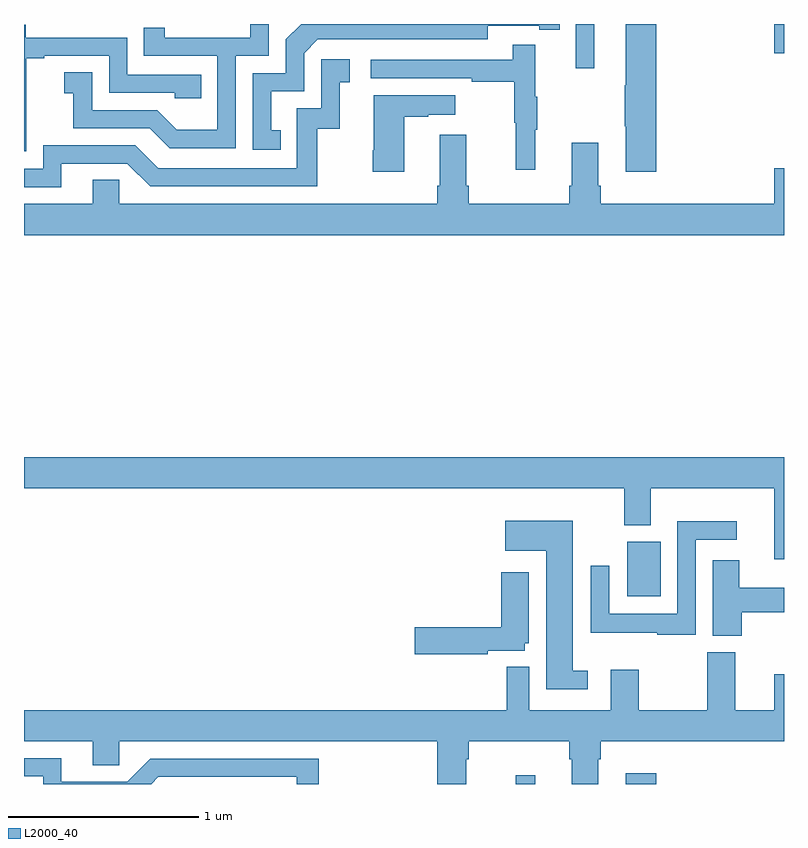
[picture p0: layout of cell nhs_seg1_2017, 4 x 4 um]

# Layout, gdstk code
import gdstk
lib = gdstk.Library(unit=1e-6, precision=1e-09)
def R(c, l, rs):  # rectangles x0, y0, x1, y1
    for r in rs: c.add(gdstk.rectangle(r[:2], r[2:], *l))
def P(c, l, *ps):  # polygons
    for p in ps: c.add(gdstk.Polygon(p, *l))
L2000_40 = (2000, 40)

nhs_seg1_2017 = lib.new_cell('nhs_seg1_2017')
R(nhs_seg1_2017, L2000_40, [(223.588,526.199,223.691,526.246), (224.168,526.199,224.327,526.255), (224.174,527.186,224.35,527.473), (223.905,529.965,224.002,530.199), (224.948,530.046,225,530.199)])
P(nhs_seg1_2017, L2000_40, [(224.327,530.199),(224.168,530.199),(224.168,529.877),(224.161,529.877),(224.161,529.66),(224.168,529.66),(224.168,529.422),(224.327,529.422)],
  [(222.114,530.031),(222.288,530.031),(222.288,530.199),(222.191,530.199),(222.191,530.127),(221.74,530.127),(221.74,530.179),(221.629,530.179),(221.629,530.031),(222.018,530.031),(222.018,529.642),(221.804,529.642),(221.7,529.746),(221.358,529.746),(221.358,529.945),(221.211,529.945),(221.211,529.835),(221.26,529.835),(221.26,529.65),(221.663,529.65),(221.768,529.545),(222.114,529.545)],
  [(222.35,529.641),(222.301,529.641),(222.301,529.845),(222.474,529.845),(222.474,530.046),(222.546,530.118),(223.44,530.118),(223.44,530.19),(223.712,530.19),(223.712,530.17),(223.82,530.17),(223.82,530.199),(222.459,530.199),(222.378,530.118),(222.378,529.941),(222.204,529.941),(222.204,529.536),(222.35,529.536)],
  [(221.013,529.735),(221.012,529.735),(221.012,530.019),(221.107,530.019),(221.107,530.031),(221.448,530.031),(221.448,529.836),(221.793,529.836),(221.793,529.809),(221.933,529.809),(221.933,529.932),(221.544,529.932),(221.544,530.127),(221.01,530.127),(221.01,530.196),(221,530.196),(221,529.529),(221.013,529.529)],
  [(223.691,529.643),(223.702,529.643),(223.702,529.817),(223.691,529.817),(223.691,530.089),(223.573,530.089),(223.573,530.01),(222.825,530.01),(222.825,529.914),(223.357,529.914),(223.357,529.894),(223.581,529.894),(223.581,529.68),(223.588,529.68),(223.588,529.431),(223.691,529.431)],
  [(221.197,529.464),(221.544,529.464),(221.664,529.344),(222.544,529.344),(222.544,529.647),(222.662,529.647),(222.662,529.893),(222.715,529.893),(222.715,530.014),(222.564,530.014),(222.564,529.755),(222.435,529.755),(222.435,529.44),(221.706,529.44),(221.586,529.56),(221.1,529.56),(221.1,529.437),(221,529.437),(221,529.341),(221.197,529.341)],
  [(223,529.711),(223.127,529.711),(223.127,529.721),(223.27,529.721),(223.27,529.825),(222.842,529.825),(222.842,529.534),(222.835,529.534),(222.835,529.422),(223,529.422)],
  [(225,529.441),(224.948,529.441),(224.948,529.252),(224.036,529.252),(224.036,529.348),(224.023,529.348),(224.023,529.573),(223.883,529.573),(223.883,529.348),(223.871,529.348),(223.871,529.252),(223.34,529.252),(223.34,529.348),(223.327,529.348),(223.327,529.615),(223.187,529.615),(223.187,529.348),(223.175,529.348),(223.175,529.252),(221.502,529.252),(221.502,529.379),(221.363,529.379),(221.363,529.252),(221,529.252),(221,529.088),(225,529.088)],
  [(225,527.92),(221,527.92),(221,527.756),(224.159,527.756),(224.159,527.562),(224.299,527.562),(224.299,527.756),(224.948,527.756),(224.948,527.382),(225,527.382)],
  [(223.966,526.796),(223.888,526.796),(223.888,527.584),(223.533,527.584),(223.533,527.426),(223.748,527.426),(223.748,526.698),(223.966,526.698)],
  [(224.535,527.484),(224.752,527.484),(224.752,527.581),(224.439,527.581),(224.439,527.095),(224.079,527.095),(224.079,527.347),(223.983,527.347),(223.983,526.994),(224.332,526.994),(224.332,526.984),(224.535,526.984)],
  [(224.777,527.104),(225,527.104),(225,527.233),(224.764,527.233),(224.764,527.377),(224.624,527.377),(224.624,526.978),(224.777,526.978)],
  [(223.44,526.901),(223.636,526.901),(223.636,526.941),(223.657,526.941),(223.657,527.314),(223.511,527.314),(223.511,527.024),(223.056,527.024),(223.056,526.882),(223.44,526.882)],
  [(223.327,526.328),(223.34,526.328),(223.34,526.424),(223.871,526.424),(223.871,526.328),(223.883,526.328),(223.883,526.199),(224.023,526.199),(224.023,526.328),(224.036,526.328),(224.036,526.424),(225,526.424),(225,526.777),(224.948,526.777),(224.948,526.588),(224.743,526.588),(224.743,526.893),(224.596,526.893),(224.596,526.588),(224.235,526.588),(224.235,526.801),(224.087,526.801),(224.087,526.588),(223.66,526.588),(223.66,526.816),(223.542,526.816),(223.542,526.588),(221,526.588),(221,526.424),(221.363,526.424),(221.363,526.297),(221.502,526.297),(221.502,526.424),(223.175,526.424),(223.175,526.199),(223.327,526.199)],
  [(221.706,526.236),(222.435,526.236),(222.435,526.199),(222.551,526.199),(222.551,526.332),(221.664,526.332),(221.544,526.212),(221.197,526.212),(221.197,526.335),(221,526.335),(221,526.239),(221.1,526.239),(221.1,526.199),(221.669,526.199)])

lib.write_gds('nhs_seg1_2017.gds')
